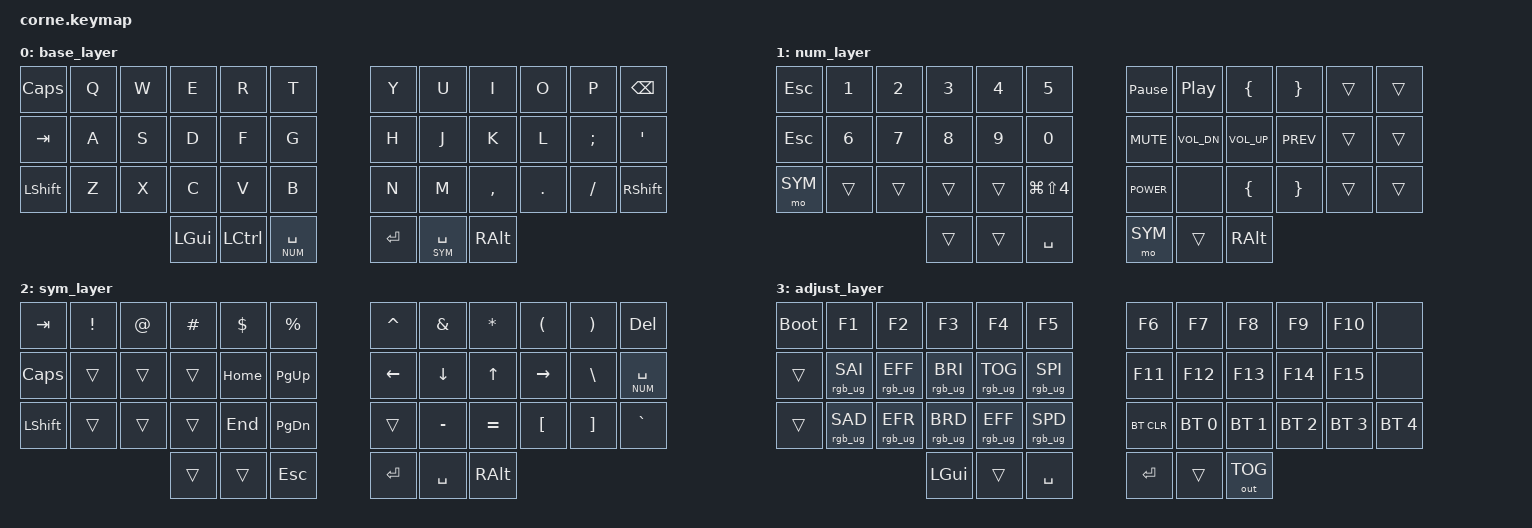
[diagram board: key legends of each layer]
/*
 * Corne (wireless) ZMK keymap - converted from QMK crkbd keymap.c
 * Layers: 0 BASE | 1 NUM/MEDIA | 2 SYM/NAV | 3 ADJUST (RGB, F-keys, Bluetooth)
 * Layer 3 activates automatically when 1 + 2 are held (QMK update_tri_layer_state).
 */

#include <behaviors.dtsi>
#include <dt-bindings/zmk/keys.h>
#include <dt-bindings/zmk/bt.h>
#include <dt-bindings/zmk/outputs.h>
#include <dt-bindings/zmk/rgb.h>

#define BASE   0
#define NUM    1
#define SYM    2
#define ADJUST 3

/* QMK TAPPING_TERM 200 + PERMISSIVE_HOLD  ->  "balanced" flavor */
&lt {
    flavor = "balanced";
    tapping-term-ms = <200>;
    quick-tap-ms = <150>;
};

/ {
    conditional_layers {
        compatible = "zmk,conditional-layers";
        tri_layer {
            if-layers = <NUM SYM>;
            then-layer = <ADJUST>;
        };
    };

    keymap {
        compatible = "zmk,keymap";

        base_layer {
            bindings = <
&kp CAPS  &kp Q  &kp W  &kp E     &kp R      &kp T          &kp Y      &kp U       &kp I      &kp O    &kp P    &kp BSPC
&kp TAB   &kp A  &kp S  &kp D     &kp F      &kp G          &kp H      &kp J       &kp K      &kp L    &kp SEMI &kp SQT
&kp LSHFT &kp Z  &kp X  &kp C     &kp V      &kp B          &kp N      &kp M       &kp COMMA  &kp DOT  &kp FSLH  &kp RSHFT
                        &kp LGUI  &kp LCTRL  &lt NUM SPACE  &kp RET    &lt SYM SPACE  &kp RALT
            >;
        };

        num_layer {
            bindings = <
&kp ESC   &kp N1  &kp N2  &kp N3  &kp N4  &kp N5            &kp PAUSE_BREAK  &kp C_PLAY_PAUSE  &kp LBRC   &kp RBRC  &trans &trans
&kp ESC   &kp N6  &kp N7  &kp N8  &kp N9  &kp N0            &kp C_MUTE       &kp C_VOL_DN      &kp C_VOL_UP &kp C_PREV &trans &trans
&mo SYM   &trans  &trans  &trans  &trans  &kp LG(LS(N4))    &kp K_POWER      &none             &kp LBRC   &kp RBRC  &trans &trans
                          &trans  &trans  &kp SPACE         &mo SYM          &trans            &kp RALT
            >;
        };

        sym_layer {
            bindings = <
&kp TAB   &kp EXCL &kp AT  &kp HASH &kp DLLR &kp PRCNT      &kp CARET &kp AMPS  &kp STAR &kp LPAR &kp RPAR &kp DEL
&kp CAPS  &trans   &trans  &trans   &kp HOME &kp PG_UP      &kp LEFT  &kp DOWN  &kp UP   &kp RIGHT &kp BSLH &lt NUM SPACE
&kp LSHFT &trans   &trans  &trans   &kp END  &kp PG_DN      &trans    &kp MINUS &kp EQUAL &kp LBKT &kp RBKT &kp GRAVE
                           &trans   &trans   &kp ESC        &kp RET   &kp SPACE &kp RALT
            >;
        };

        adjust_layer {
            bindings = <
&bootloader &kp F1  &kp F2  &kp F3  &kp F4  &kp F5          &kp F6   &kp F7   &kp F8   &kp F9   &kp F10  &none
&trans  &rgb_ug RGB_SAI &rgb_ug RGB_EFF &rgb_ug RGB_BRI &rgb_ug RGB_TOG &rgb_ug RGB_SPI   &kp F11  &kp F12  &kp F13  &kp F14  &kp F15  &none
&trans  &rgb_ug RGB_SAD &rgb_ug RGB_EFR &rgb_ug RGB_BRD &rgb_ug RGB_EFF &rgb_ug RGB_SPD   &bt BT_CLR &bt BT_SEL 0 &bt BT_SEL 1 &bt BT_SEL 2 &bt BT_SEL 3 &bt BT_SEL 4
                            &kp LGUI &trans &kp SPACE       &kp RET  &trans   &out OUT_TOG
            >;
        };
    };
};
